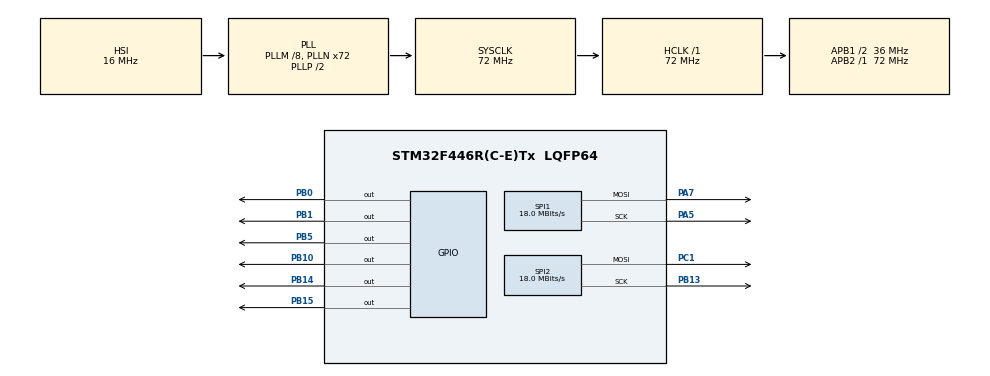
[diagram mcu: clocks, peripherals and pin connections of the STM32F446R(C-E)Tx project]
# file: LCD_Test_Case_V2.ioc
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Dma.Request0=SPI1_TX
Dma.Request1=SPI2_TX
Dma.SPI1_TX.0.Direction=DMA_MEMORY_TO_PERIPH
Dma.SPI1_TX.0.FIFOMode=DMA_FIFOMODE_DISABLE
Dma.SPI1_TX.0.Instance=DMA2_Stream3
Dma.SPI1_TX.0.MemDataAlignment=DMA_MDATAALIGN_BYTE
Dma.SPI1_TX.0.MemInc=DMA_MINC_ENABLE
Dma.SPI1_TX.0.Mode=DMA_NORMAL
Dma.SPI1_TX.0.PeriphDataAlignment=DMA_PDATAALIGN_BYTE
Dma.SPI1_TX.0.PeriphInc=DMA_PINC_DISABLE
Dma.SPI1_TX.0.Priority=DMA_PRIORITY_LOW
Dma.SPI2_TX.1.Direction=DMA_MEMORY_TO_PERIPH
Dma.SPI2_TX.1.FIFOMode=DMA_FIFOMODE_DISABLE
Dma.SPI2_TX.1.Instance=DMA1_Stream4
Dma.SPI2_TX.1.MemDataAlignment=DMA_MDATAALIGN_BYTE
Dma.SPI2_TX.1.MemInc=DMA_MINC_ENABLE
Dma.SPI2_TX.1.Mode=DMA_NORMAL
Dma.SPI2_TX.1.PeriphDataAlignment=DMA_PDATAALIGN_BYTE
Dma.SPI2_TX.1.PeriphInc=DMA_PINC_DISABLE
Dma.SPI2_TX.1.Priority=DMA_PRIORITY_LOW
Mcu.Family=STM32F4
Mcu.Name=STM32F446R(C-E)Tx
Mcu.Package=LQFP64
NVIC.DMA1_Stream4_IRQn=true\:0\:0\:false\:false\:true\:false\:true\:true
NVIC.DMA2_Stream3_IRQn=true\:0\:0\:false\:false\:true\:false\:true\:true
NVIC.PriorityGroup=NVIC_PRIORITYGROUP_4
PA13.Mode=Serial_Wire
PA13.Signal=SYS_JTMS-SWDIO
PA14.Mode=Serial_Wire
PA14.Signal=SYS_JTCK-SWCLK
PA5.Mode=TX_Only_Simplex_Unidirect_Master
PA5.Signal=SPI1_SCK
PA7.Mode=TX_Only_Simplex_Unidirect_Master
PA7.Signal=SPI1_MOSI
PB0.Signal=GPIO_Output
PB1.Signal=GPIO_Output
PB10.Signal=GPIO_Output
PB13.Mode=TX_Only_Simplex_Unidirect_Master
PB13.Signal=SPI2_SCK
PB14.Signal=GPIO_Output
PB15.Signal=GPIO_Output
PB5.Signal=GPIO_Output
PC1.Mode=TX_Only_Simplex_Unidirect_Master
PC1.Signal=SPI2_MOSI
PH0-OSC_IN.Mode=HSE-External-Oscillator
PH0-OSC_IN.Signal=RCC_OSC_IN
PH1-OSC_OUT.Mode=HSE-External-Oscillator
PH1-OSC_OUT.Signal=RCC_OSC_OUT
ProjectManager.HeapSize=0x200
ProjectManager.StackSize=0x400
ProjectManager.TargetToolchain=STM32CubeIDE
RCC.AHBFreq_Value=72000000
RCC.APB1CLKDivider=RCC_HCLK_DIV2
RCC.APB1Freq_Value=36000000
RCC.APB1TimFreq_Value=72000000
RCC.APB2Freq_Value=72000000
RCC.APB2TimFreq_Value=72000000
RCC.CortexFreq_Value=72000000
RCC.HCLKFreq_Value=72000000
RCC.PLLM=8
RCC.PLLN=72
RCC.SYSCLKFreq_VALUE=72000000
RCC.SYSCLKSource=RCC_SYSCLKSOURCE_PLLCLK
RCC.USBFreq_Value=72000000
RCC.VCOOutputFreq_Value=144000000
SPI1.BaudRatePrescaler=SPI_BAUDRATEPRESCALER_4
SPI1.CalculateBaudRate=18.0 MBits/s
SPI1.Direction=SPI_DIRECTION_2LINES
SPI1.Mode=SPI_MODE_MASTER
SPI1.VirtualType=VM_MASTER
SPI2.CalculateBaudRate=18.0 MBits/s
SPI2.Direction=SPI_DIRECTION_2LINES
SPI2.Mode=SPI_MODE_MASTER
SPI2.VirtualType=VM_MASTER
board=custom

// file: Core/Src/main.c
/* USER CODE BEGIN Header */
/**
  ******************************************************************************
  * @file           : main.c
  * @brief          : Main program body
  ******************************************************************************
  * @attention
  *
  * Copyright (c) 2025 STMicroelectronics.
  * All rights reserved.
  *
  * This software is licensed under terms that can be found in the LICENSE file
  * in the root directory of this software component.
  * If no LICENSE file comes with this software, it is provided AS-IS.
  *
  ******************************************************************************
  */
/* USER CODE END Header */
#include "main.h"
#include "dma.h"
#include "spi.h"
#include "gpio.h"

/* USER CODE BEGIN Includes */
#include "ILI9341_STM32_Driver.h"
#include "ILI9341_GFX.h"
#include <stdio.h>

/* USER CODE END Includes */

void SystemClock_Config(void);

int main(void)
{

  /* MCU Configuration--------------------------------------------------------*/

  /* Reset of all peripherals, Initializes the Flash interface and the Systick. */
  HAL_Init();

  /* Configure the system clock */
  SystemClock_Config();

  /* Initialize all configured peripherals */
  MX_GPIO_Init();
  MX_DMA_Init();
  MX_SPI1_Init();
  MX_SPI2_Init();
  /* USER CODE BEGIN 2 */
  ILI9341_Init();

  int rectXStart = 80;
  int rectYStart = 80;

    // Simple Text writing (Text, Font, X, Y, Color, BackColor)
    // Available Fonts are FONT1, FONT2, FONT3 and FONT4
    ILI9341_FillScreen(BLACK);
    ILI9341_SetRotation(SCREEN_HORIZONTAL_2);
    ILI9341_DrawText("HELLO WORLD", FONT4, 90, 110, WHITE, BLACK);
    HAL_Delay(3000);
/*
    ILI9341_FillScreen(BLACK);
    ILI9341_SetRotation(SCREEN_HORIZONTAL_2);
    ILI9341_DrawText("HOW ARE YOU", FONT3, 200, 220, BLACK, WHITE);
    HAL_Delay(1000);

    ILI9341_FillScreen(WHITE);
    ILI9341_SetRotation(SCREEN_HORIZONTAL_2);
    ILI9341_DrawText("I Am Fine", FONT4, 50, 70, WHITE, BLACK);
    HAL_Delay(1000);
    ILI9341_DrawText("Thank You", FONT4, 130, 150, BLACK, WHITE);
*/
    HAL_Delay(1000);
    ILI9341_FillScreen(BLACK);
    ILI9341_DrawHollowRectangleCoord(50, 50, 220, 140, WHITE);
    HAL_Delay(1000);
    ILI9341_DrawText("Testing", FONT3, 95, 85, WHITE, BLACK);
    HAL_Delay(1000);
    ILI9341_DrawPixel(160, 95, WHITE);

    //Writing numbers
    //ILI9341_FillScreen(BLACK);
//    static char BufferText[30];
//    for(uint8_t i = 0; i <= 5; i++)
//    {
//      sprintf(BufferText, "COUNT : %d", i);
//      ILI9341_DrawText(BufferText, FONT3, 10, 10, BLACK, WHITE);
//      ILI9341_DrawText(BufferText, FONT3, 10, 30, BLUE, WHITE);
//      ILI9341_DrawText(BufferText, FONT3, 10, 50, RED, WHITE);
//      ILI9341_DrawText(BufferText, FONT3, 10, 70, GREEN, WHITE);
//      ILI9341_DrawText(BufferText, FONT3, 10, 90, YELLOW, WHITE);
//      ILI9341_DrawText(BufferText, FONT3, 10, 110, PURPLE, WHITE);
//      ILI9341_DrawText(BufferText, FONT3, 10, 130, ORANGE, WHITE);
//      ILI9341_DrawText(BufferText, FONT3, 10, 150, MAROON, WHITE);
//      ILI9341_DrawText(BufferText, FONT3, 10, 170, WHITE, BLACK);
//      ILI9341_DrawText(BufferText, FONT3, 10, 190, BLUE, BLACK);
//    }

    // Horizontal Line (X, Y, Length, Color)
//    ILI9341_FillScreen(WHITE);
//    ILI9341_DrawHLine(50, 120, 200, NAVY);
//    HAL_Delay(1000);
//
//    // Vertical Line (X, Y, Length, Color)
//    ILI9341_FillScreen(WHITE);
//    ILI9341_DrawVLine(160, 40, 150, DARKGREEN);
//    HAL_Delay(1000);
//
//    // Hollow Circle (Centre X, Centre Y, Radius, Color)
//    ILI9341_FillScreen(WHITE);
//    ILI9341_DrawHollowCircle(160, 120, 80, PINK);
//    HAL_Delay(1000);
//
//    // Filled Circle (Centre X, Centre Y, Radius, Color)
//    ILI9341_FillScreen(WHITE);
//    ILI9341_DrawFilledCircle(160, 120, 50, CYAN);
//    HAL_Delay(1000);
//
//    // Filled Rectangle (Start X, Start Y, Length X, Length Y)
//    ILI9341_FillScreen(WHITE);
//    ILI9341_DrawRectangle(50, 50, 220, 140, GREENYELLOW);
//    HAL_Delay(1000);

    // Hollow Rectangle (Start X, Start Y, End X, End Y)
//    ILI9341_FillScreen(WHITE);
//    ILI9341_DrawHollowRectangleCoord(50, 50, 270, 190, WHITE);
//    HAL_Delay(1000);

//    // Simple Pixel Only (X, Y, Color)
//    ILI9341_FillScreen(WHITE);
//    ILI9341_DrawPixel(100, 100, BLACK);
//    HAL_Delay(1000);
  /* USER CODE END 2 */

  /* Infinite loop */

    /* USER CODE BEGIN 3 */
    //ILI9341_DrawHollowRectangleCoord(80, 80, 310, 230, WHITE);

  while(1){

  }
  /* USER CODE END 3 */
}

void SystemClock_Config(void)
{
  RCC_OscInitTypeDef RCC_OscInitStruct = {0};
  RCC_ClkInitTypeDef RCC_ClkInitStruct = {0};

  /** Configure the main internal regulator output voltage
  */
  __HAL_RCC_PWR_CLK_ENABLE();
  __HAL_PWR_VOLTAGESCALING_CONFIG(PWR_REGULATOR_VOLTAGE_SCALE3);

  /** Initializes the RCC Oscillators according to the specified parameters
  * in the RCC_OscInitTypeDef structure.
  */
  RCC_OscInitStruct.OscillatorType = RCC_OSCILLATORTYPE_HSI;
  RCC_OscInitStruct.HSIState = RCC_HSI_ON;
  RCC_OscInitStruct.HSICalibrationValue = RCC_HSICALIBRATION_DEFAULT;
  RCC_OscInitStruct.PLL.PLLState = RCC_PLL_ON;
  RCC_OscInitStruct.PLL.PLLSource = RCC_PLLSOURCE_HSI;
  RCC_OscInitStruct.PLL.PLLM = 8;
  RCC_OscInitStruct.PLL.PLLN = 72;
  RCC_OscInitStruct.PLL.PLLP = RCC_PLLP_DIV2;
  RCC_OscInitStruct.PLL.PLLQ = 2;
  RCC_OscInitStruct.PLL.PLLR = 2;
  if (HAL_RCC_OscConfig(&RCC_OscInitStruct) != HAL_OK)
  {
    Error_Handler();
  }

  /** Initializes the CPU, AHB and APB buses clocks
  */
  RCC_ClkInitStruct.ClockType = RCC_CLOCKTYPE_HCLK|RCC_CLOCKTYPE_SYSCLK
                              |RCC_CLOCKTYPE_PCLK1|RCC_CLOCKTYPE_PCLK2;
  RCC_ClkInitStruct.SYSCLKSource = RCC_SYSCLKSOURCE_PLLCLK;
  RCC_ClkInitStruct.AHBCLKDivider = RCC_SYSCLK_DIV1;
  RCC_ClkInitStruct.APB1CLKDivider = RCC_HCLK_DIV2;
  RCC_ClkInitStruct.APB2CLKDivider = RCC_HCLK_DIV1;

  if (HAL_RCC_ClockConfig(&RCC_ClkInitStruct, FLASH_LATENCY_2) != HAL_OK)
  {
    Error_Handler();
  }
}

void Error_Handler(void)
{
  __disable_irq();
  while (1)
  {
  }
}
